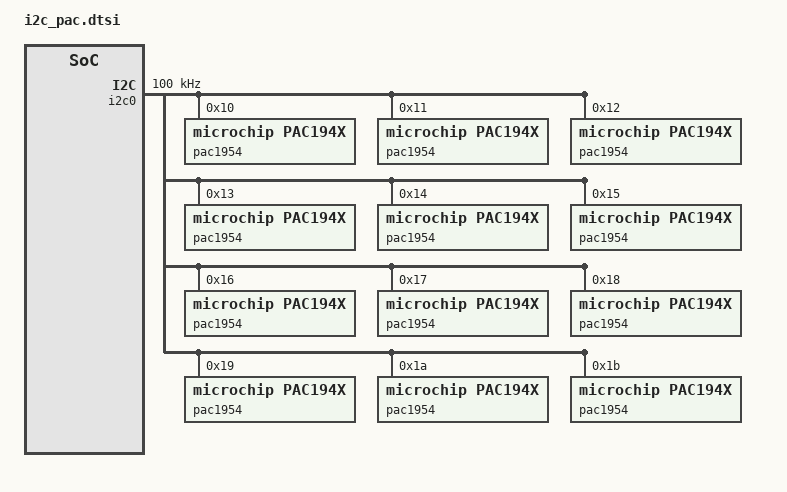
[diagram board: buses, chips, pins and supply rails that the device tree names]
/* Copyright 2025 The ChromiumOS Authors
 * Use of this source code is governed by a BSD-style license that can be
 * found in the LICENSE file.
 */

#include <zephyr/dt-bindings/sensor/pac194x.h>

&i2c0 {
	status = "okay";

    pinctrl-0 = <&i2c0_clk_gpb3_default
		     &i2c0_data_gpb4_default>;
	pinctrl-names = "default";

    label = "I2C_PAC";
	clock-frequency = <I2C_BITRATE_STANDARD>;

    pac1954@10 {
        compatible = "microchip,pac194x";
        reg = <0x10>;
        status = "okay";
        #address-cells = <1>;
        #size-cells = <0>;

        channel@2 {
	    reg = <0x2>;
            microchip,shunt-resistor-micro-ohms = <100000>;
            friendly-name = "PP1800_EC_Z1";
            microchip,vbus-mode = <PAC_BIPOLAR_HALF_FSR>;
            microchip,vsense-mode = <PAC_BIPOLAR_HALF_FSR>;
            microchip,accumulation-mode = <PAC_ACCUM_VPOWER>;
        };
        channel@3 {
	    reg = <0x3>;
            microchip,shunt-resistor-micro-ohms = <100000>;
            friendly-name = "PP1800_Z1";
            microchip,vbus-mode = <PAC_BIPOLAR_HALF_FSR>;
            microchip,vsense-mode = <PAC_BIPOLAR_HALF_FSR>;
            microchip,accumulation-mode = <PAC_ACCUM_VPOWER>;
        };
        channel@4 {
	    reg = <0x4>;
            microchip,shunt-resistor-micro-ohms = <5000>;
            friendly-name = "PPVAR_BAT";
            microchip,vbus-mode = <PAC_BIPOLAR_HALF_FSR>;
            microchip,vsense-mode = <PAC_BIPOLAR_HALF_FSR>;
            microchip,accumulation-mode = <PAC_ACCUM_VPOWER>;
        };
    };

    pac1954@11 {
        compatible = "microchip,pac194x";
        reg = <0x11>;
        status = "okay";
        #address-cells = <1>;
        #size-cells = <0>;

        channel@1 {
	    reg = <0x1>;
            microchip,shunt-resistor-micro-ohms = <10000>;
            friendly-name = "PP3300_Z5";
            microchip,vbus-mode = <PAC_BIPOLAR_HALF_FSR>;
            microchip,vsense-mode = <PAC_BIPOLAR_HALF_FSR>;
            microchip,accumulation-mode = <PAC_ACCUM_VPOWER>;
        };
        channel@2 {
	    reg = <0x2>;
            microchip,shunt-resistor-micro-ohms = <3000>;
            friendly-name = "PP1800_S5";
            microchip,vbus-mode = <PAC_BIPOLAR_HALF_FSR>;
            microchip,vsense-mode = <PAC_BIPOLAR_HALF_FSR>;
            microchip,accumulation-mode = <PAC_ACCUM_VPOWER>;
        };
        channel@4 {
	    reg = <0x4>;
            microchip,shunt-resistor-micro-ohms = <10000>;
            friendly-name = "PP1800_SOC_S5";
            microchip,vbus-mode = <PAC_BIPOLAR_HALF_FSR>;
            microchip,vsense-mode = <PAC_BIPOLAR_HALF_FSR>;
            microchip,accumulation-mode = <PAC_ACCUM_VPOWER>;
        };
    };

    pac1954@12 {
        compatible = "microchip,pac194x";
        reg = <0x12>;
        status = "okay";
        #address-cells = <1>;
        #size-cells = <0>;

        channel@1 {
	    reg = <0x1>;
            microchip,shunt-resistor-micro-ohms = <10000>;
            friendly-name = "PP3300_FCAM_X";
            microchip,vbus-mode = <PAC_BIPOLAR_HALF_FSR>;
            microchip,vsense-mode = <PAC_BIPOLAR_HALF_FSR>;
            microchip,accumulation-mode = <PAC_ACCUM_VPOWER>;
        };
        channel@2 {
	    reg = <0x2>;
            microchip,shunt-resistor-micro-ohms = <10000>;
            friendly-name = "PP3300_SOC_S5";
            microchip,vbus-mode = <PAC_BIPOLAR_HALF_FSR>;
            microchip,vsense-mode = <PAC_BIPOLAR_HALF_FSR>;
            microchip,accumulation-mode = <PAC_ACCUM_VPOWER>;
        };
        channel@3 {
	    reg = <0x3>;
            microchip,shunt-resistor-micro-ohms = <50000>;
            friendly-name = "PP1500_RTC_Z5";
            microchip,vbus-mode = <PAC_BIPOLAR_HALF_FSR>;
            microchip,vsense-mode = <PAC_BIPOLAR_HALF_FSR>;
            microchip,accumulation-mode = <PAC_ACCUM_VPOWER>;
        };
        channel@4 {
	    reg = <0x4>;
            microchip,shunt-resistor-micro-ohms = <5000>;
            friendly-name = "PPVAR_SYS_EDP";
            microchip,vbus-mode = <PAC_BIPOLAR_HALF_FSR>;
            microchip,vsense-mode = <PAC_BIPOLAR_HALF_FSR>;
            microchip,accumulation-mode = <PAC_ACCUM_VPOWER>;
        };
    };

    pac1954@13 {
        compatible = "microchip,pac194x";
        reg = <0x13>;
        status = "okay";
        #address-cells = <1>;
        #size-cells = <0>;

        channel@2 {
	    reg = <0x2>;
            microchip,shunt-resistor-micro-ohms = <1000>;
            friendly-name = "VIN_PPVAR_VCCCORE_PH2";
            microchip,vbus-mode = <PAC_BIPOLAR_HALF_FSR>;
            microchip,vsense-mode = <PAC_BIPOLAR_HALF_FSR>;
            microchip,accumulation-mode = <PAC_ACCUM_VPOWER>;
        };
        channel@3 {
	    reg = <0x3>;
            microchip,shunt-resistor-micro-ohms = <10000>;
            friendly-name = "PP5000_FAN_X";
            microchip,vbus-mode = <PAC_BIPOLAR_HALF_FSR>;
            microchip,vsense-mode = <PAC_BIPOLAR_HALF_FSR>;
            microchip,accumulation-mode = <PAC_ACCUM_VPOWER>;
        };
        channel@4 {
	    reg = <0x4>;
            microchip,shunt-resistor-micro-ohms = <100000>;
            friendly-name = "PP5000_IMVP_S5";
            microchip,vbus-mode = <PAC_BIPOLAR_HALF_FSR>;
            microchip,vsense-mode = <PAC_BIPOLAR_HALF_FSR>;
            microchip,accumulation-mode = <PAC_ACCUM_VPOWER>;
        };
    };

    pac1954@14 {
        compatible = "microchip,pac194x";
        reg = <0x14>;
        status = "okay";
        #address-cells = <1>;
        #size-cells = <0>;

        channel@2 {
	    reg = <0x2>;
            microchip,shunt-resistor-micro-ohms = <10000>;
            friendly-name = "PP3300_DBG";
            microchip,vbus-mode = <PAC_BIPOLAR_HALF_FSR>;
            microchip,vsense-mode = <PAC_BIPOLAR_HALF_FSR>;
            microchip,accumulation-mode = <PAC_ACCUM_VPOWER>;
        };
        channel@3 {
	    reg = <0x3>;
            microchip,shunt-resistor-micro-ohms = <1000>;
            friendly-name = "PP1065_MEM_S3";
            microchip,vbus-mode = <PAC_BIPOLAR_HALF_FSR>;
            microchip,vsense-mode = <PAC_BIPOLAR_HALF_FSR>;
            microchip,accumulation-mode = <PAC_ACCUM_VPOWER>;
        };
        channel@4 {
	    reg = <0x4>;
            microchip,shunt-resistor-micro-ohms = <2000>;
            friendly-name = "PP0520_MEM_S3";
            microchip,vbus-mode = <PAC_BIPOLAR_HALF_FSR>;
            microchip,vsense-mode = <PAC_BIPOLAR_HALF_FSR>;
            microchip,accumulation-mode = <PAC_ACCUM_VPOWER>;
        };
    };

    pac1954@15 {
        compatible = "microchip,pac194x";
        reg = <0x15>;
        status = "okay";
        #address-cells = <1>;
        #size-cells = <0>;

        channel@1 {
	    reg = <0x1>;
            microchip,shunt-resistor-micro-ohms = <20000>;
            friendly-name = "PP3300_EDP_X";
            microchip,vbus-mode = <PAC_BIPOLAR_HALF_FSR>;
            microchip,vsense-mode = <PAC_BIPOLAR_HALF_FSR>;
            microchip,accumulation-mode = <PAC_ACCUM_VPOWER>;
        };
        channel@3 {
	    reg = <0x3>;
            microchip,shunt-resistor-micro-ohms = <20000>;
            friendly-name = "PP3300_TCHSCR_X";
            microchip,vbus-mode = <PAC_BIPOLAR_HALF_FSR>;
            microchip,vsense-mode = <PAC_BIPOLAR_HALF_FSR>;
            microchip,accumulation-mode = <PAC_ACCUM_VPOWER>;
        };
        channel@4 {
	    reg = <0x4>;
            microchip,shunt-resistor-micro-ohms = <20000>;
            friendly-name = "PP1800_TCHSCR_X";
            microchip,vbus-mode = <PAC_BIPOLAR_HALF_FSR>;
            microchip,vsense-mode = <PAC_BIPOLAR_HALF_FSR>;
            microchip,accumulation-mode = <PAC_ACCUM_VPOWER>;
        };
    };

    pac1954@16 {
        compatible = "microchip,pac194x";
        reg = <0x16>;
        status = "okay";
        #address-cells = <1>;
        #size-cells = <0>;

        channel@1 {
	    reg = <0x1>;
            microchip,shunt-resistor-micro-ohms = <100000>;
            friendly-name = "PP3300_EC_Z1";
            microchip,vbus-mode = <PAC_BIPOLAR_HALF_FSR>;
            microchip,vsense-mode = <PAC_BIPOLAR_HALF_FSR>;
            microchip,accumulation-mode = <PAC_ACCUM_VPOWER>;
        };
        channel@2 {
	    reg = <0x2>;
            microchip,shunt-resistor-micro-ohms = <100000>;
            friendly-name = "PP3300_Z1";
            microchip,vbus-mode = <PAC_BIPOLAR_HALF_FSR>;
            microchip,vsense-mode = <PAC_BIPOLAR_HALF_FSR>;
            microchip,accumulation-mode = <PAC_ACCUM_VPOWER>;
        };
        channel@3 {
	    reg = <0x3>;
            microchip,shunt-resistor-micro-ohms = <100000>;
            friendly-name = "PP1800_EC_S5";
            microchip,vbus-mode = <PAC_BIPOLAR_HALF_FSR>;
            microchip,vsense-mode = <PAC_BIPOLAR_HALF_FSR>;
            microchip,accumulation-mode = <PAC_ACCUM_VPOWER>;
        };
        channel@4 {
	    reg = <0x4>;
            microchip,shunt-resistor-micro-ohms = <100000>;
            friendly-name = "PP3300_GSC_Z1";
            microchip,vbus-mode = <PAC_BIPOLAR_HALF_FSR>;
            microchip,vsense-mode = <PAC_BIPOLAR_HALF_FSR>;
            microchip,accumulation-mode = <PAC_ACCUM_VPOWER>;
        };
    };

    pac1954@17 {
        compatible = "microchip,pac194x";
        reg = <0x17>;
        status = "okay";
        #address-cells = <1>;
        #size-cells = <0>;

        channel@1 {
	    reg = <0x1>;
            microchip,shunt-resistor-micro-ohms = <1000>;
            friendly-name = "PPVAR_VBUS_IN";
            microchip,vbus-mode = <PAC_BIPOLAR_HALF_FSR>;
            microchip,vsense-mode = <PAC_BIPOLAR_HALF_FSR>;
            microchip,accumulation-mode = <PAC_ACCUM_VPOWER>;
        };
        channel@2 {
	    reg = <0x2>;
            microchip,shunt-resistor-micro-ohms = <100000>;
            friendly-name = "PP1800_GSC_Z1";
            microchip,vbus-mode = <PAC_BIPOLAR_HALF_FSR>;
            microchip,vsense-mode = <PAC_BIPOLAR_HALF_FSR>;
            microchip,accumulation-mode = <PAC_ACCUM_VPOWER>;
        };
        channel@4 {
	    reg = <0x4>;
            microchip,shunt-resistor-micro-ohms = <1000>;
            friendly-name = "PP5000_S5";
            microchip,vbus-mode = <PAC_BIPOLAR_HALF_FSR>;
            microchip,vsense-mode = <PAC_BIPOLAR_HALF_FSR>;
            microchip,accumulation-mode = <PAC_ACCUM_VPOWER>;
        };
    };

    pac1954@18 {
        compatible = "microchip,pac194x";
        reg = <0x18>;
        status = "okay";
        #address-cells = <1>;
        #size-cells = <0>;

        channel@1 {
	    reg = <0x1>;
            microchip,shunt-resistor-micro-ohms = <10000>;
            friendly-name = "PP1800_MEM_S3";
            microchip,vbus-mode = <PAC_BIPOLAR_HALF_FSR>;
            microchip,vsense-mode = <PAC_BIPOLAR_HALF_FSR>;
            microchip,accumulation-mode = <PAC_ACCUM_VPOWER>;
        };
        channel@3 {
	    reg = <0x3>;
            microchip,shunt-resistor-micro-ohms = <5000>;
            friendly-name = "PP3300_S5";
            microchip,vbus-mode = <PAC_BIPOLAR_HALF_FSR>;
            microchip,vsense-mode = <PAC_BIPOLAR_HALF_FSR>;
            microchip,accumulation-mode = <PAC_ACCUM_VPOWER>;
        };
        channel@4 {
	    reg = <0x4>;
            microchip,shunt-resistor-micro-ohms = <1000>;
            friendly-name = "TP196_TP197";
            microchip,vbus-mode = <PAC_BIPOLAR_HALF_FSR>;
            microchip,vsense-mode = <PAC_BIPOLAR_HALF_FSR>;
            microchip,accumulation-mode = <PAC_ACCUM_VPOWER>;
        };
    };

    pac1954@19 {
        compatible = "microchip,pac194x";
        reg = <0x19>;
        status = "okay";
        #address-cells = <1>;
        #size-cells = <0>;

        channel@1 {
	    reg = <0x1>;
            microchip,shunt-resistor-micro-ohms = <10000>;
            friendly-name = "PP1250_SOC_S5";
            microchip,vbus-mode = <PAC_BIPOLAR_HALF_FSR>;
            microchip,vsense-mode = <PAC_BIPOLAR_HALF_FSR>;
            microchip,accumulation-mode = <PAC_ACCUM_VPOWER>;
        };
        channel@2 {
	    reg = <0x2>;
            microchip,shunt-resistor-micro-ohms = <20000>;
            friendly-name = "PP1250_SOC_VIN";
            microchip,vbus-mode = <PAC_BIPOLAR_HALF_FSR>;
            microchip,vsense-mode = <PAC_BIPOLAR_HALF_FSR>;
            microchip,accumulation-mode = <PAC_ACCUM_VPOWER>;
        };
        channel@3 {
	    reg = <0x3>;
            microchip,shunt-resistor-micro-ohms = <2000>;
            friendly-name = "PP0770_SOC_S3";
            microchip,vbus-mode = <PAC_BIPOLAR_HALF_FSR>;
            microchip,vsense-mode = <PAC_BIPOLAR_HALF_FSR>;
            microchip,accumulation-mode = <PAC_ACCUM_VPOWER>;
        };
        channel@4 {
	    reg = <0x4>;
            microchip,shunt-resistor-micro-ohms = <2000>;
            friendly-name = "PP0770_SOC_S5";
            microchip,vbus-mode = <PAC_BIPOLAR_HALF_FSR>;
            microchip,vsense-mode = <PAC_BIPOLAR_HALF_FSR>;
            microchip,accumulation-mode = <PAC_ACCUM_VPOWER>;
        };
    };

    pac1954@1a {
        compatible = "microchip,pac194x";
        reg = <0x1a>;
        status = "okay";
        #address-cells = <1>;
        #size-cells = <0>;

        channel@2 {
	    reg = <0x2>;
            microchip,shunt-resistor-micro-ohms = <5000>;
            friendly-name = "PP3300_SSD_X";
            microchip,vbus-mode = <PAC_BIPOLAR_HALF_FSR>;
            microchip,vsense-mode = <PAC_BIPOLAR_HALF_FSR>;
            microchip,accumulation-mode = <PAC_ACCUM_VPOWER>;
        };
        channel@3 {
	    reg = <0x3>;
            microchip,shunt-resistor-micro-ohms = <20000>;
            friendly-name = "PP1800_SSD_GEN5_X";
            microchip,vbus-mode = <PAC_BIPOLAR_HALF_FSR>;
            microchip,vsense-mode = <PAC_BIPOLAR_HALF_FSR>;
            microchip,accumulation-mode = <PAC_ACCUM_VPOWER>;
        };
    };

    pac1954@1b {
        compatible = "microchip,pac194x";
        reg = <0x1b>;
        status = "okay";
        #address-cells = <1>;
        #size-cells = <0>;

        channel@1 {
	    reg = <0x1>;
            microchip,shunt-resistor-micro-ohms = <1000>;
            friendly-name = "VIN_PPVAR_VCCLPECORE";
            microchip,vbus-mode = <PAC_BIPOLAR_HALF_FSR>;
            microchip,vsense-mode = <PAC_BIPOLAR_HALF_FSR>;
            microchip,accumulation-mode = <PAC_ACCUM_VPOWER>;
        };
        channel@2 {
	    reg = <0x2>;
            microchip,shunt-resistor-micro-ohms = <1000>;
            friendly-name = "VIN_PPVAR_VCCGT";
            microchip,vbus-mode = <PAC_BIPOLAR_HALF_FSR>;
            microchip,vsense-mode = <PAC_BIPOLAR_HALF_FSR>;
            microchip,accumulation-mode = <PAC_ACCUM_VPOWER>;
        };
        channel@3 {
	    reg = <0x3>;
            microchip,shunt-resistor-micro-ohms = <1000>;
            friendly-name = "VIN_PPVAR_VCCCORE_PH1";
            microchip,vbus-mode = <PAC_BIPOLAR_HALF_FSR>;
            microchip,vsense-mode = <PAC_BIPOLAR_HALF_FSR>;
            microchip,accumulation-mode = <PAC_ACCUM_VPOWER>;
        };
        channel@4 {
	    reg = <0x4>;
            microchip,shunt-resistor-micro-ohms = <1000>;
            friendly-name = "VIN_PPVAR_VCCSA";
            microchip,vbus-mode = <PAC_BIPOLAR_HALF_FSR>;
            microchip,vsense-mode = <PAC_BIPOLAR_HALF_FSR>;
            microchip,accumulation-mode = <PAC_ACCUM_VPOWER>;
        };
    };

};

